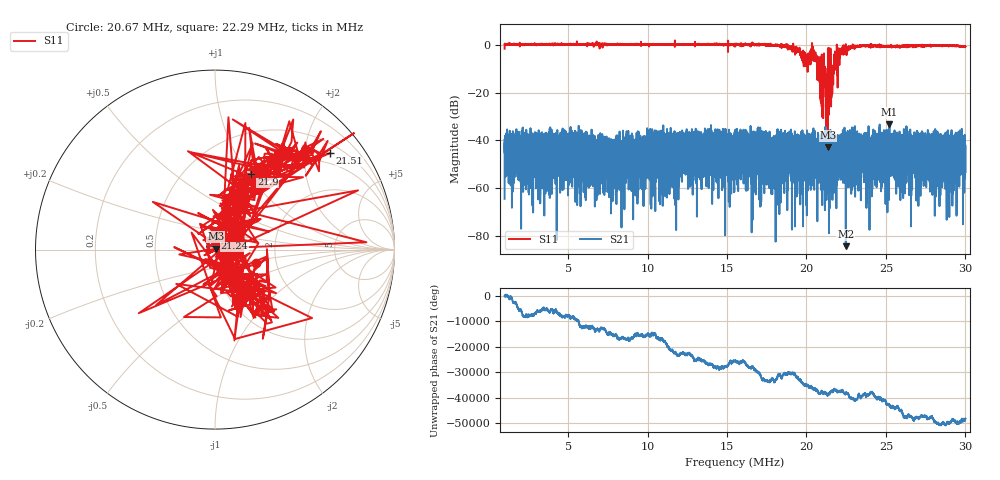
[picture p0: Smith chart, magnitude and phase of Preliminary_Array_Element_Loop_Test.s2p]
# HZ S RI R 50
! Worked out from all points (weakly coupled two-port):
!   12120 points, 1 MHz to 30 MHz, reference 50 ohm
!   highest |S21| = -33.38 dB at 25.22 MHz (marker M1); lowest = -84.4 dB at 22.47 MHz (marker M2)
!   lowest |S11| = -43.0 dB at 21.35 MHz (marker M3), VSWR 1.01, Z = 50.4 + j0.616 ohm
!   |S11| at or under -10 dB: 20.9612 MHz to 21.0629 MHz (101.7 kHz wide, 0.484 % of centre); 21.19 MHz to 21.35 MHz (159.7 kHz wide, 0.751 % of centre); 21.56 MHz to 21.67 MHz (109.7 kHz wide, 0.508 % of centre)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
!   S12 and S22 are empty: the file has one direction only
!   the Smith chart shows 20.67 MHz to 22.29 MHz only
!   S11 on the Smith chart (normalised r, x): 20.67 MHz: 1.57, -0.24; 21.24 MHz: 0.99, +0.13; 21.51 MHz: 0.72, +2.57; 21.9 MHz: 0.97, +1.03; 22.29 MHz: 0.97, +2.03
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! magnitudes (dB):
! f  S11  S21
! 1 MHz  -1.6  -64.6
! 1.146 MHz  0.2  -42.7
! 1.273 MHz  0.3  -42.7
! 5.834 MHz  0.2  -43.1
! 8.947 MHz  0.3  -48.6
! 10.67 MHz  0.3  -40.8
! 15.5 MHz  0.1  -46.4
! 18.68 MHz  -0.5  -52.8
! 20.05 MHz  -6.2  -38.6
! 20.34 MHz  -2.3  -37.9
! 20.67 MHz  -12.4  -41.3
! 20.91 MHz  -18.1  -46.6
! 21.24 MHz  -24.0  -41.7
! 21.35 MHz  -43.0  -41.8
! 21.51 MHz  -1.6  -49.3
! 21.9 MHz  -6.6  -48.2
! 22.29 MHz  -2.9  -35.7
! 22.47 MHz  -2.0  -84.4
! 25.17 MHz  -0.6  -47.5
! 25.22 MHz  -0.7  -33.4
! 28.94 MHz  -0.3  -41.7
! 30 MHz  -0.7  -42.6
